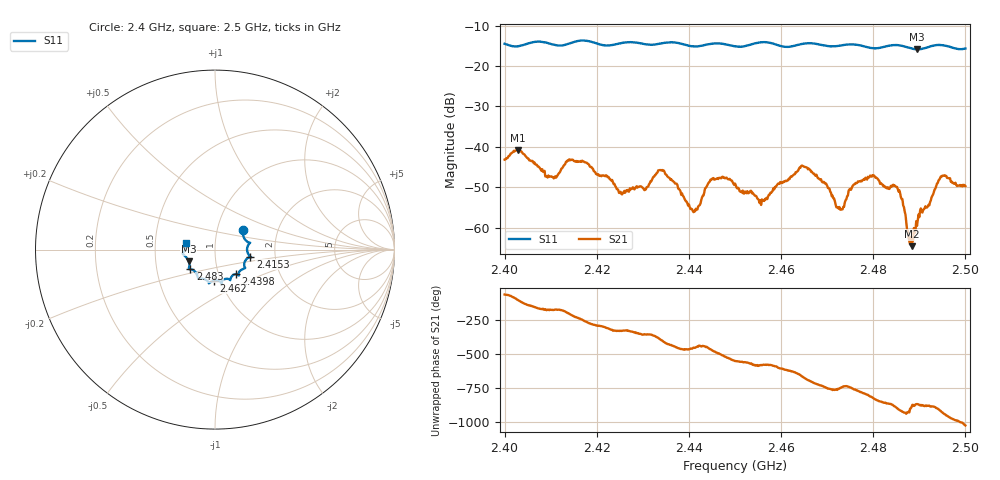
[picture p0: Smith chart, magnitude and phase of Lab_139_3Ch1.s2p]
# Hz S RI R 50
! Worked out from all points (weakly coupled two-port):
!   601 points, 2.4 GHz to 2.5 GHz, reference 50 ohm
!   highest |S21| = -40.77 dB at 2.4028 GHz (marker M1); lowest = -64.5 dB at 2.4883 GHz (marker M2)
!   lowest |S11| = -15.9 dB at 2.4895 GHz (marker M3), VSWR 1.38, Z = 37 - j4.99 ohm
!   |S11| at or under -10 dB: start of sweep to end of sweep
!   S12 and S22 are empty: the file has one direction only
!   S11 on the Smith chart (normalised r, x): 2.4 GHz: 1.33, +0.29; 2.4153 GHz: 1.48, -0.12; 2.4398 GHz: 1.21, -0.34; 2.462 GHz: 0.93, -0.33; 2.483 GHz: 0.74, -0.17; 2.5 GHz: 0.72, +0.06
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2.4e9  0.1551 0.1065  0.00351 -0.006  0 0  0 0
2.402833e9  0.1637 0.0617  -0.00137 -0.00905  0 0  0 0
2.409333e9  0.1897 0.0318  -0.00414 -0.00063  0 0  0 0
2.415333e9  0.1964 -0.0387  -0.00469 0.00476  0 0  0 0
2.416667e9  0.202 -0.0428  -0.00302 0.0058  0 0  0 0
2.425333e9  0.1656 -0.0974  0.00222 0.00139  0 0  0 0
2.433333e9  0.1311 -0.1335  0.00484 -0.00166  0 0  0 0
2.439833e9  0.1153 -0.1363  -0.000489 -0.00182  0 0  0 0
2.445167e9  0.0848 -0.1691  -0.00164 -0.00374  0 0  0 0
2.45e9  0.0648 -0.1626  -0.00348 0.000563  0 0  0 0
2.455833e9  0.0378 -0.1931  -0.00171 0.00146  0 0  0 0
2.462e9  -0.00541 -0.1731  -0.000629 0.00417  0 0  0 0
2.466667e9  -0.0342 -0.1876  0.00473 0.00144  0 0  0 0
2.472833e9  -0.0785 -0.1605  0.00148 -0.000776  0 0  0 0
2.479333e9  -0.1052 -0.1302  -6.12e-05 -0.00442  0 0  0 0
2.483e9  -0.1376 -0.1095  -0.0024 -0.00193  0 0  0 0
2.483333e9  -0.14 -0.1092  -0.00243 -0.00182  0 0  0 0
2.485667e9  -0.1456 -0.1056  -0.00286 0.000489  0 0  0 0
2.488333e9  -0.1426 -0.0821  -0.000576 -0.000141  0 0  0 0
2.4895e9  -0.1462 -0.0658  -0.000877 -0.000591  0 0  0 0
2.495e9  -0.18 -0.0198  -0.00391 0.00205  0 0  0 0
2.5e9  -0.1597 0.0393  0.00183 0.00272  0 0  0 0
